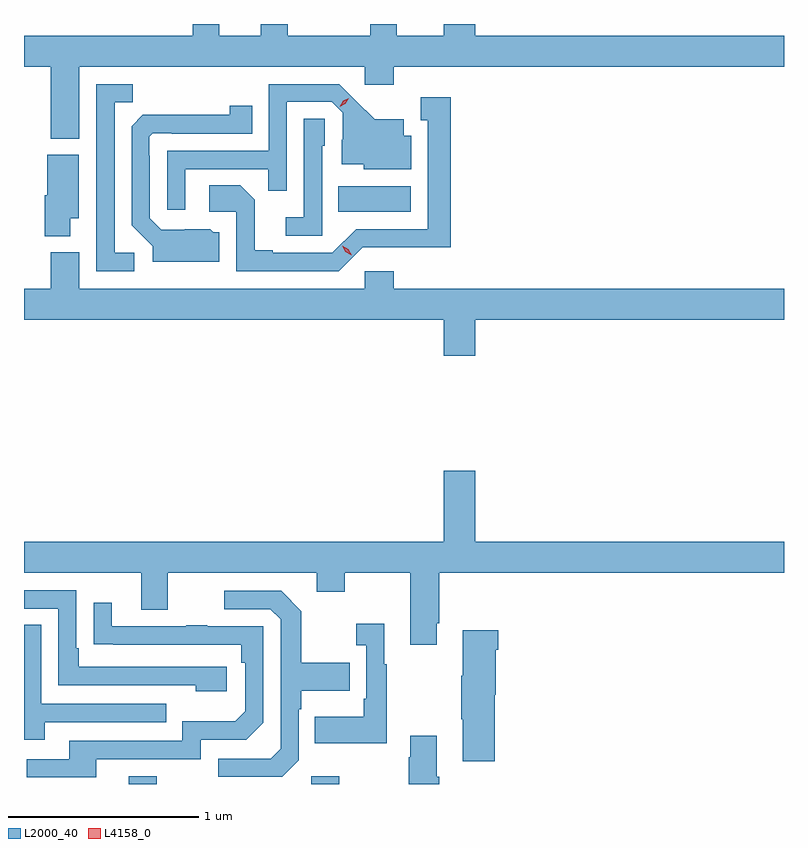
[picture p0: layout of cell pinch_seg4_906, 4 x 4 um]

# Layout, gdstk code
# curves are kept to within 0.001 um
import gdstk
lib = gdstk.Library(unit=1e-6, precision=1e-09)
def R(c, l, rs):  # rectangles x0, y0, x1, y1
    for r in rs: c.add(gdstk.rectangle(r[:2], r[2:], *l))
def P(c, l, *ps):  # polygons
    for p in ps: c.add(gdstk.Polygon(p, *l))
L2000_40 = (2000, 40)
L4158_0 = (4158, 0)

pinch_seg4_906 = lib.new_cell('pinch_seg4_906')
R(pinch_seg4_906, L2000_40, [(738.773,825.013,738.921,825.055), (739.734,825.013,739.881,825.055), (739.876,828.026,740.257,828.16)])
P(pinch_seg4_906, L2000_40, [(742.222,828.952),(740.596,828.952),(740.596,829.013),(740.432,829.013),(740.432,828.952),(740.185,828.952),(740.185,829.013),(740.045,829.013),(740.045,828.952),(739.609,828.952),(739.609,829.013),(739.469,829.013),(739.469,828.952),(739.249,828.952),(739.249,829.013),(739.11,829.013),(739.11,828.952),(738.222,828.952),(738.222,828.788),(738.362,828.788),(738.362,828.41),(738.514,828.41),(738.514,828.788),(740.016,828.788),(740.016,828.693),(740.168,828.693),(740.168,828.788),(742.222,828.788)],
  [(739.071,828.249),(739.507,828.249),(739.507,828.136),(739.605,828.136),(739.605,828.603),(739.842,828.603),(739.899,828.546),(739.899,828.404),(739.895,828.404),(739.895,828.275),(740.01,828.275),(740.01,828.248),(740.26,828.248),(740.26,828.424),(740.221,828.424),(740.221,828.511),(740.069,828.511),(739.882,828.696),(739.509,828.696),(739.509,828.345),(738.975,828.345),(738.975,828.036),(739.071,828.036)],
  [(738.802,827.808),(738.699,827.808),(738.699,828.601),(738.795,828.601),(738.795,828.696),(738.603,828.696),(738.603,827.712),(738.802,827.712)],
  [(740.004,827.838),(740.467,827.837),(740.467,828.628),(740.309,828.628),(740.309,828.507),(740.348,828.507),(740.348,827.934),(739.971,827.934),(739.845,827.808),(739.531,827.808),(739.531,827.821),(739.437,827.821),(739.437,828.088),(739.361,828.164),(739.197,828.164),(739.197,828.024),(739.338,828.024),(739.338,827.712),(739.878,827.712)],
  [(739.249,827.916),(739.218,827.916),(739.202,827.932),(738.945,827.931),(738.885,827.991),(738.885,828.32),(738.882,828.32),(738.882,828.42),(738.9,828.438),(739,828.438),(739,828.435),(739.424,828.435),(739.424,828.583),(739.306,828.583),(739.306,828.536),(738.848,828.535),(738.789,828.476),(738.789,827.954),(738.899,827.844),(738.899,827.762),(739.249,827.762)],
  [(739.791,828.372),(739.806,828.372),(739.806,828.515),(739.695,828.515),(739.695,827.995),(739.599,827.995),(739.599,827.898),(739.791,827.898)],
  [(738.466,827.99),(738.511,827.99),(738.511,828.325),(738.344,828.325),(738.344,828.111),(738.332,828.111),(738.332,827.897),(738.466,827.897)],
  [(740.596,827.456),(742.222,827.456),(742.222,827.62),(740.168,827.62),(740.168,827.713),(740.016,827.713),(740.016,827.62),(738.514,827.62),(738.514,827.812),(738.362,827.812),(738.362,827.62),(738.222,827.62),(738.222,827.456),(740.432,827.456),(740.432,827.268),(740.596,827.268)],
  [(740.395,825.859),(740.408,825.859),(740.408,826.124),(742.222,826.124),(742.222,826.288),(740.596,826.288),(740.596,826.663),(740.432,826.663),(740.432,826.288),(738.222,826.288),(738.222,826.124),(738.839,826.124),(738.839,825.93),(738.979,825.93),(738.979,826.124),(739.763,826.124),(739.763,826.025),(739.911,826.025),(739.911,826.124),(740.255,826.124),(740.255,825.747),(740.395,825.747)],
  [(739.288,825.63),(738.511,825.63),(738.511,825.727),(738.498,825.727),(738.498,826.032),(738.222,826.032),(738.222,825.936),(738.402,825.936),(738.402,825.534),(739.127,825.534),(739.127,825.5),(739.288,825.5)],
  [(739.668,825.138),(739.668,825.407),(739.681,825.407),(739.681,825.503),(739.937,825.503),(739.937,825.651),(739.681,825.651),(739.681,825.923),(739.575,826.029),(739.275,826.029),(739.275,825.933),(739.518,825.933),(739.572,825.879),(739.572,825.198),(739.521,825.147),(739.245,825.147),(739.245,825.051),(739.581,825.051)],
  [(738.601,825.144),(739.152,825.144),(739.152,825.246),(739.392,825.246),(739.482,825.336),(739.482,825.843),(739.187,825.843),(739.187,825.848),(739.075,825.848),(739.075,825.843),(738.685,825.843),(738.685,825.967),(738.589,825.967),(738.589,825.748),(739.366,825.747),(739.366,825.65),(739.386,825.65),(739.386,825.396),(739.333,825.343),(739.056,825.343),(739.056,825.24),(738.461,825.24),(738.461,825.144),(738.237,825.144),(738.237,825.048),(738.601,825.048)],
  [(740.131,825.643),(740.119,825.643),(740.119,825.856),(739.971,825.856),(739.971,825.743),(740.022,825.743),(740.022,825.463),(740.01,825.463),(740.01,825.367),(739.753,825.367),(739.753,825.227),(740.131,825.227)],
  [(738.331,825.339),(738.971,825.339),(738.971,825.435),(738.312,825.435),(738.312,825.851),(738.222,825.851),(738.222,825.245),(738.331,825.245)],
  [(740.699,825.483),(740.704,825.483),(740.704,825.719),(740.717,825.719),(740.717,825.823),(740.531,825.823),(740.531,825.583),(740.524,825.583),(740.524,825.355),(740.531,825.355),(740.531,825.132),(740.699,825.132)],
  [(740.408,825.052),(740.395,825.052),(740.395,825.268),(740.255,825.268),(740.255,825.155),(740.248,825.155),(740.248,825.013),(740.408,825.013)])
P(pinch_seg4_906, L4158_0, [(739.946,827.795),(739.914,827.814),(739.897,827.847),(739.897,827.847),(739.897,827.847),(739.929,827.828),(739.946,827.795),(739.946,827.795)],
  [(739.884,828.578),(739.884,828.578),(739.901,828.608),(739.932,828.623),(739.932,828.623),(739.932,828.622),(739.914,828.593),(739.884,828.578)])

lib.write_gds('pinch_seg4_906.gds')
